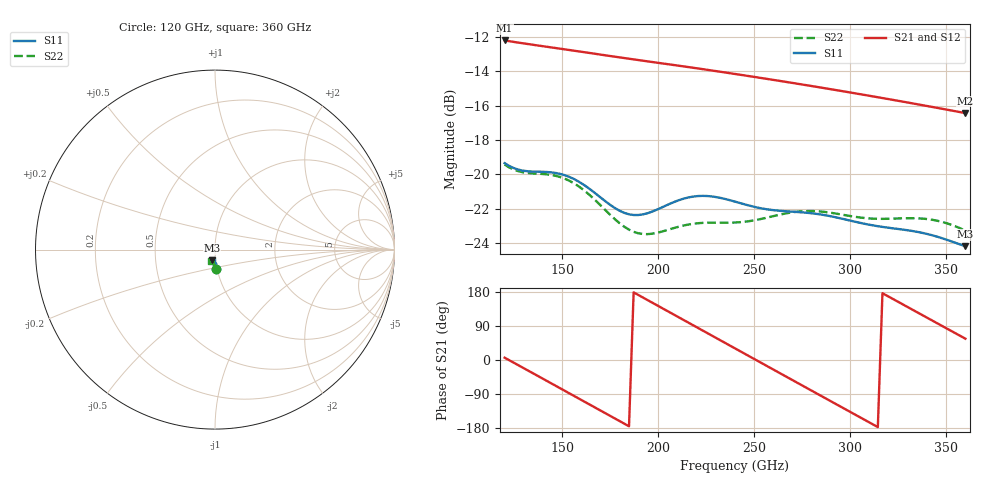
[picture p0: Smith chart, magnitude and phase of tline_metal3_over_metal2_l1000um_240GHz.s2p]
#  GHZ S DB R 50
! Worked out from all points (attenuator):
!   101 points, 120 GHz to 360 GHz, reference 50 ohm
!   highest |S21| = -12.20 dB at 120 GHz (marker M1); lowest = -16.4 dB at 360 GHz (marker M2)
!   lowest |S11| = -24.2 dB at 360 GHz (marker M3), VSWR 1.13, Z = 48 - j5.74 ohm
!   |S11| at or under -10 dB: start of sweep to end of sweep
!   |S22| runs from -23.5 to -19.4 dB; largest |S21 - S12| = 2e-13
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120  -19.35 -88.3  -12.20 6.1  -12.20 6.1  -19.44 -86.1
129.6  -19.79 -86.1  -12.37 -20.6  -12.37 -20.6  -19.89 -83.9
141.6  -19.87 -86.4  -12.56 -54.1  -12.56 -54.1  -20.00 -84.7
151.2  -20.05 -89.3  -12.72 -80.9  -12.72 -80.9  -20.25 -88.0
160.8  -20.58 -92.5  -12.87 -107.8  -12.87 -107.8  -20.89 -91.7
172.8  -21.60 -93.6  -13.07 -141.3  -13.07 -141.3  -22.13 -93.5
182.4  -22.26 -90.8  -13.23 -168.2  -13.23 -168.2  -23.07 -91.0
192  -22.34 -86.8  -13.38 165.0  -13.38 165.0  -23.49 -86.2
201.6  -21.95 -84.9  -13.53 138.2  -13.53 138.2  -23.35 -82.6
211.2  -21.50 -86.2  -13.68 111.3  -13.68 111.3  -23.04 -81.6
220.8  -21.27 -89.4  -13.84 84.4  -13.84 84.4  -22.86 -82.4
240  -21.60 -95.6  -14.16 30.7  -14.16 30.7  -22.81 -83.9
249.6  -21.89 -97.1  -14.32 3.8  -14.32 3.8  -22.70 -84.1
259.2  -22.08 -97.8  -14.49 -23.0  -14.49 -23.0  -22.46 -85.1
271.2  -22.19 -99.0  -14.70 -56.6  -14.70 -56.6  -22.20 -88.0
280.8  -22.29 -100.5  -14.88 -83.4  -14.88 -83.4  -22.15 -91.1
290.4  -22.46 -102.1  -15.05 -110.2  -15.05 -110.2  -22.25 -94.0
302.4  -22.77 -103.5  -15.28 -143.6  -15.28 -143.6  -22.48 -96.6
312  -22.99 -104.0  -15.47 -170.4  -15.47 -170.4  -22.59 -97.9
321.6  -23.14 -104.4  -15.65 162.9  -15.65 162.9  -22.59 -99.4
340.8  -23.50 -105.9  -16.04 109.5  -16.04 109.5  -22.62 -104.8
360  -24.19 -105.4  -16.44 56.2  -16.44 56.2  -23.29 -111.0
